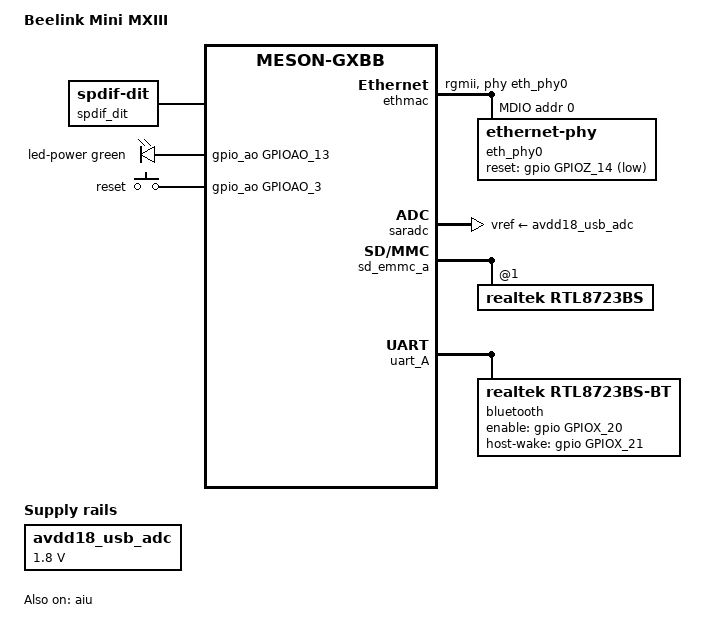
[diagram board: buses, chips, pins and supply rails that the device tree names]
// SPDX-License-Identifier: (GPL-2.0+ OR MIT)
/*
 * Copyright (c) 2021 Christian Hewitt <christianshewitt@gmail.com>
 */

/dts-v1/;

#include "meson-gxbb-p20x.dtsi"
#include <dt-bindings/gpio/gpio.h>
#include <dt-bindings/input/input.h>
#include <dt-bindings/leds/common.h>
#include <dt-bindings/sound/meson-aiu.h>

/ {
	compatible = "beelink,mini-mxiii", "amlogic,meson-gxbb";
	model = "Beelink Mini MXIII";

	spdif_dit: audio-codec-0 {
		#sound-dai-cells = <0>;
		compatible = "linux,spdif-dit";
		status = "okay";
		sound-name-prefix = "DIT";
	};

	leds {
		compatible = "gpio-leds";

		led-power {
			/* Red in Standby */
			color = <LED_COLOR_ID_GREEN>;
			function = LED_FUNCTION_POWER;
			gpios = <&gpio_ao GPIOAO_13 GPIO_ACTIVE_HIGH>;
			default-state = "on";
		};
	};

	gpio-keys-polled {
		compatible = "gpio-keys-polled";
		#address-cells = <1>;
		#size-cells = <0>;
		poll-interval = <20>;

		button-reset {
			label = "reset";
			linux,code = <KEY_POWER>;
			gpios = <&gpio_ao GPIOAO_3 GPIO_ACTIVE_HIGH>;
		};
	};

	avdd18_usb_adc: regulator-avdd18_usb_adc {
		compatible = "regulator-fixed";
		regulator-name = "AVDD18_USB_ADC";
		regulator-min-microvolt = <1800000>;
		regulator-max-microvolt = <1800000>;
	};

	sound {
		compatible = "amlogic,gx-sound-card";
		model = "MINI-MXIII";
		assigned-clocks = <&clkc CLKID_MPLL0>,
				  <&clkc CLKID_MPLL1>,
				  <&clkc CLKID_MPLL2>;
		assigned-clock-parents = <0>, <0>, <0>;
		assigned-clock-rates = <294912000>,
				       <270950400>,
				       <393216000>;
		status = "okay";

		dai-link-0 {
			sound-dai = <&aiu AIU_CPU CPU_I2S_FIFO>;
		};

		dai-link-1 {
			sound-dai = <&aiu AIU_CPU CPU_SPDIF_FIFO>;
		};

		dai-link-2 {
			sound-dai = <&aiu AIU_CPU CPU_I2S_ENCODER>;
			dai-format = "i2s";
			mclk-fs = <256>;

			codec-0 {
				sound-dai = <&aiu AIU_HDMI CTRL_I2S>;
			};
		};

		dai-link-3 {
			sound-dai = <&aiu AIU_CPU CPU_SPDIF_ENCODER>;

			codec-0 {
				sound-dai = <&spdif_dit>;
			};
		};

		dai-link-4 {
			sound-dai = <&aiu AIU_HDMI CTRL_OUT>;

			codec-0 {
				sound-dai = <&hdmi_tx>;
			};
		};
	};
};

&aiu {
	status = "okay";
	pinctrl-0 = <&spdif_out_y_pins>;
	pinctrl-names = "default";
};

&ethmac {
	status = "okay";
	pinctrl-0 = <&eth_rgmii_pins>;
	pinctrl-names = "default";

	phy-handle = <&eth_phy0>;
	phy-mode = "rgmii";

	amlogic,tx-delay-ns = <2>;

	mdio {
		compatible = "snps,dwmac-mdio";
		#address-cells = <1>;
		#size-cells = <0>;

		eth_phy0: ethernet-phy@0 {
			/* Realtek RTL8211F (0x001cc916) */
			reg = <0>;

			reset-assert-us = <10000>;
			reset-deassert-us = <80000>;
			reset-gpios = <&gpio GPIOZ_14 GPIO_ACTIVE_LOW>;

			interrupt-parent = <&gpio_intc>;
			/* MAC_INTR on GPIOZ_15 */
			interrupts = <29 IRQ_TYPE_LEVEL_LOW>;
		};
	};
};

&ir {
	linux,rc-map-name = "rc-beelink-mxiii";
};

&saradc {
	status = "okay";
	vref-supply = <&avdd18_usb_adc>;
};

/* Realtek Wireless SDIO Module */
&sd_emmc_a {
	/delete-node/ brcmf;

	rtl8723bs: wifi@1 {
		reg = <1>;
		compatible = "realtek,rtl8723bs";
	};
};

/* Connected to the Bluetooth module */
&uart_A {
	status = "okay";
	pinctrl-0 = <&uart_a_pins>, <&uart_a_cts_rts_pins>;
	pinctrl-names = "default";
	uart-has-rtscts;

	bluetooth {
		compatible = "realtek,rtl8723bs-bt";
		enable-gpios = <&gpio GPIOX_20 GPIO_ACTIVE_HIGH>;
		host-wake-gpios = <&gpio GPIOX_21 GPIO_ACTIVE_HIGH>;
	};
};
